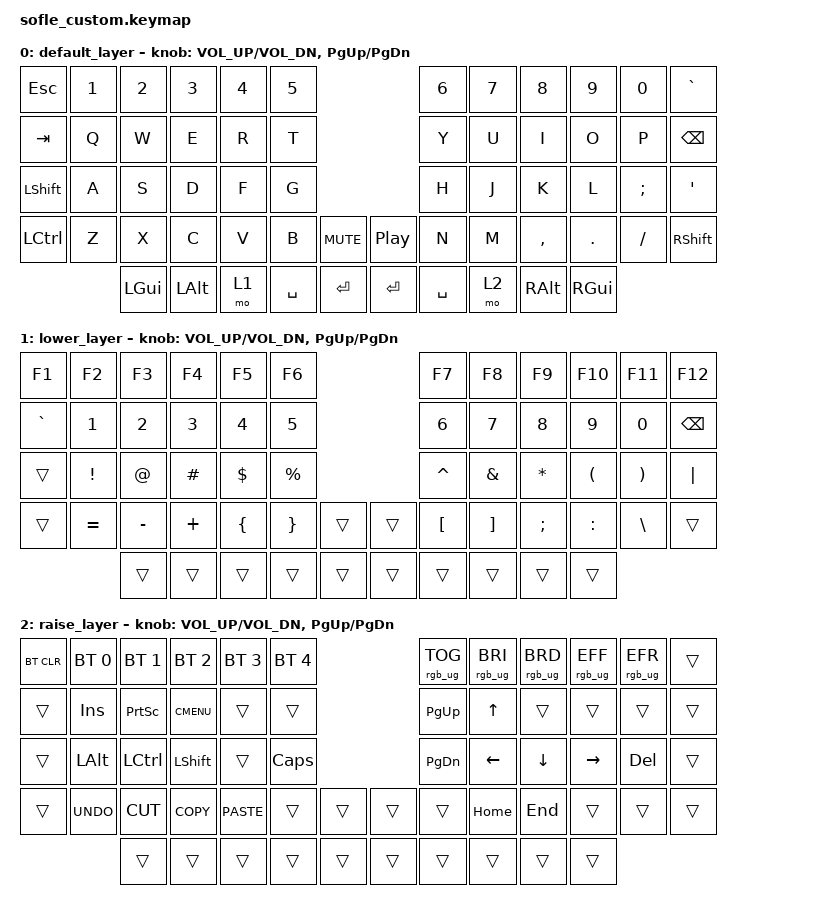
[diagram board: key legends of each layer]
#include <behaviors.dtsi>
#include <dt-bindings/zmk/keys.h>
#include <dt-bindings/zmk/bt.h>
#include <dt-bindings/zmk/rgb.h>
#include <dt-bindings/zmk/ext_power.h>

/ {
    keymap {
        compatible = "zmk,keymap";

        default_layer {
// ------------------------------------------------------------------------------------------------------------
// |  ESC  |  1  |  2  |  3   |  4   |  5   |                   |  6   |  7    |  8    |  9   |   0   |   `   |
// |  TAB  |  Q  |  W  |  E   |  R   |  T   |                   |  Y   |  U    |  I    |  O   |   P   | BKSPC |
// | SHIFT |  A  |  S  |  D   |  F   |  G   |                   |  H   |  J    |  K    |  L   |   ;   |   '   |
// | CTRL  |  Z  |  X  |  C   |  V   |  B   | MUTE  |   | PLAY  |  N   |  M    |  ,    |  .   |   /   | SHIFT |
//               | GUI | ALT  | LOWER| SPACE| ENTER |   | ENTER | SPACE| RAISE | ALT   | GUI  |
            bindings = <
&kp ESC    &kp N1 &kp N2   &kp N3   &kp N4    &kp N5                          &kp N6    &kp N7    &kp N8    &kp N9   &kp N0   &kp GRAVE
&kp TAB    &kp Q  &kp W    &kp E    &kp R     &kp T                           &kp Y     &kp U     &kp I     &kp O    &kp P    &kp BSPC
&kp LSHFT  &kp A  &kp S    &kp D    &kp F     &kp G                           &kp H     &kp J     &kp K     &kp L    &kp SEMI &kp SQT
&kp LCTRL  &kp Z  &kp X    &kp C    &kp V     &kp B     &kp C_MUTE &kp C_PP   &kp N     &kp M     &kp COMMA &kp DOT  &kp FSLH &kp RSHFT
                  &kp LGUI &kp LALT &mo 1     &kp SPACE &kp RET    &kp RET    &kp SPACE &mo 2     &kp RALT  &kp RGUI
            >;

            sensor-bindings = <&inc_dec_kp C_VOL_UP C_VOL_DN &inc_dec_kp PG_UP PG_DN>;
        };

        lower_layer {
// ------------------------------------------------------------------------------------------------------------
// |  F1   |  F2 |  F3 |  F4  |  F5  |  F6  |                   |  F7  |  F8   |  F9   |  F10 |  F11  |  F12  |
// |   `   |  1  |  2  |  3   |  4   |  5   |                   |  6   |  7    |  8    |  9   |   0   | BKSPC |
// |       |  !  |  @  |  #   |  $   |  %   |                   |  ^   |  &    |  *    |  (   |   )   |   |   |
// |       |  =  |  -  |  +   |  {   |  }   |       |   |       |  [   |  ]    |  ;    |  :   |   \   |       |
//               |     |      |      |      |       |   |       |      |       |       |      |
            bindings = <
&kp F1    &kp F2    &kp F3    &kp F4    &kp F5    &kp F6                          &kp F7    &kp F8    &kp F9    &kp F10   &kp F11   &kp F12
&kp GRAVE &kp N1    &kp N2    &kp N3    &kp N4    &kp N5                          &kp N6    &kp N7    &kp N8    &kp N9    &kp N0    &kp BSPC
&trans    &kp EXCL  &kp AT    &kp HASH  &kp DLLR  &kp PRCNT                       &kp CARET &kp AMPS  &kp ASTRK &kp LPAR  &kp RPAR  &kp PIPE
&trans    &kp EQUAL &kp MINUS &kp PLUS  &kp LBRC  &kp RBRC  &trans     &trans    &kp LBKT  &kp RBKT  &kp SEMI  &kp COLON &kp BSLH  &trans
                    &trans    &trans    &trans    &trans    &trans     &trans    &trans    &trans    &trans    &trans
            >;

            sensor-bindings = <&inc_dec_kp C_VOL_UP C_VOL_DN &inc_dec_kp PG_UP PG_DN>;
        };

        raise_layer {
// ------------------------------------------------------------------------------------------------------------
// | BT CLR| BT1 | BT2 |  BT3 |  BT4 |  BT5 |                   |RGB TOG| RGB+ | RGB- | EFCT+ | EFCT- |       |
// |       | INS | PSCR| GUI  |      |      |                   | PGUP  |  UP  |      |       |       |       |
// |       | ALT | CTRL| SHFT |      | CAPS |                   | PGDN  | LEFT | DOWN | RIGHT |  DEL  |       |
// |       | UNDO| CUT | COPY | PASTE|      |      |   |       |       | HOME | END  |       |       |       |
//               |     |      |      |      |      |   |       |      |       |      |      |
            bindings = <
&bt BT_CLR &bt BT_SEL 0 &bt BT_SEL 1 &bt BT_SEL 2 &bt BT_SEL 3 &bt BT_SEL 4                &rgb_ug RGB_TOG &rgb_ug RGB_BRI &rgb_ug RGB_BRD &rgb_ug RGB_EFF &rgb_ug RGB_EFR &trans
&trans     &kp INS      &kp PSCRN    &kp K_CMENU  &trans       &trans                      &kp PG_UP       &kp UP          &trans          &trans          &trans          &trans
&trans     &kp LALT     &kp LCTRL    &kp LSHFT    &trans       &kp CLCK                    &kp PG_DN       &kp LEFT        &kp DOWN        &kp RIGHT       &kp DEL         &trans
&trans     &kp K_UNDO   &kp K_CUT    &kp K_COPY   &kp K_PASTE  &trans  &trans     &trans   &trans          &kp HOME        &kp END         &trans          &trans          &trans
                        &trans       &trans       &trans       &trans  &trans     &trans   &trans          &trans          &trans          &trans
            >;

            sensor-bindings = <&inc_dec_kp C_VOL_UP C_VOL_DN &inc_dec_kp PG_UP PG_DN>;
        };
    };
};
